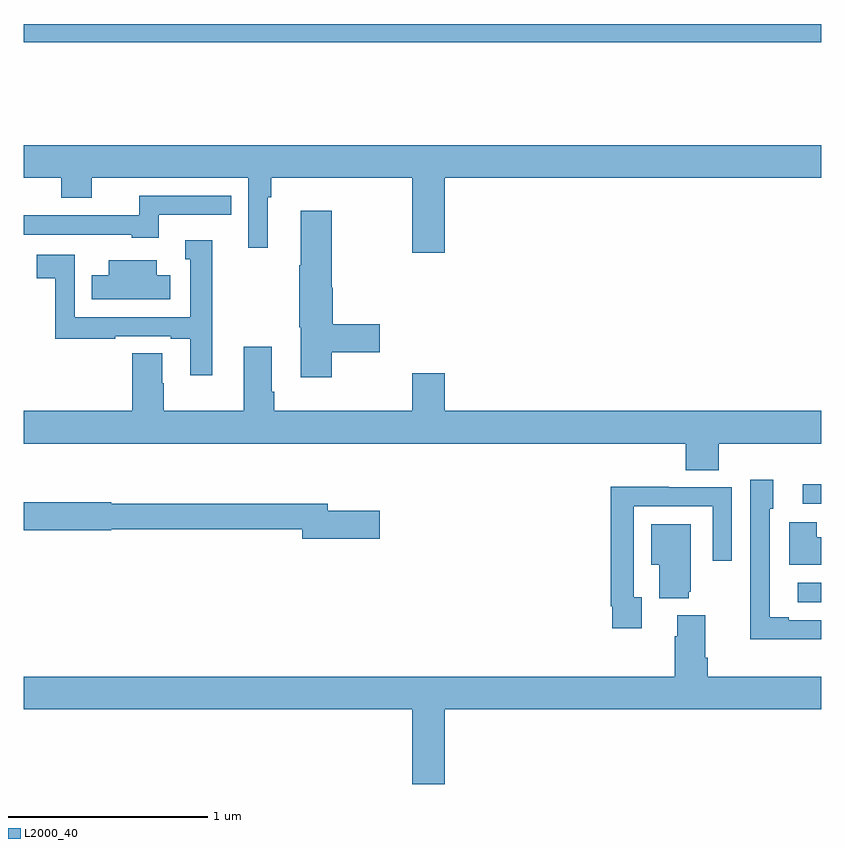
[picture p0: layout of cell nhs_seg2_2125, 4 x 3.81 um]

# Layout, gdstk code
import gdstk
lib = gdstk.Library(unit=1e-6, precision=1e-09)
def R(c, l, rs):  # rectangles x0, y0, x1, y1
    for r in rs: c.add(gdstk.rectangle(r[:2], r[2:], *l))
def P(c, l, *ps):  # polygons
    for p in ps: c.add(gdstk.Polygon(p, *l))
L2000_40 = (2000, 40)

nhs_seg2_2125 = lib.new_cell('nhs_seg2_2125')
R(nhs_seg2_2125, L2000_40, [(226.881,586.902,227,586.998), (226.905,587.394,227,587.492), (223,589.708,227,589.8)])
P(nhs_seg2_2125, L2000_40, [(225.112,589.028),(227,589.028),(227,589.192),(223,589.192),(223,589.028),(223.19,589.028),(223.19,588.929),(223.342,588.929),(223.342,589.028),(224.127,589.028),(224.127,588.678),(224.224,588.678),(224.224,588.932),(224.243,588.932),(224.243,589.028),(224.948,589.028),(224.948,588.654),(225.112,588.654)],
  [(223.678,588.843),(224.042,588.843),(224.042,588.939),(223.579,588.939),(223.579,588.84),(223.106,588.84),(223.106,588.842),(223,588.842),(223,588.744),(223.542,588.744),(223.542,588.728),(223.678,588.728)],
  [(224.544,588.154),(224.785,588.154),(224.785,588.296),(224.549,588.296),(224.549,588.479),(224.544,588.479),(224.544,588.865),(224.39,588.865),(224.39,588.59),(224.383,588.59),(224.383,588.279),(224.39,588.279),(224.39,588.03),(224.544,588.03)],
  [(223.945,588.715),(223.811,588.715),(223.811,588.621),(223.836,588.621),(223.836,588.33),(223.257,588.33),(223.257,588.642),(223.065,588.642),(223.065,588.526),(223.159,588.526),(223.159,588.222),(223.46,588.222),(223.46,588.234),(223.739,588.234),(223.739,588.222),(223.835,588.222),(223.835,588.039),(223.945,588.039)],
  [(223.735,588.541),(223.669,588.541),(223.669,588.616),(223.427,588.616),(223.427,588.541),(223.342,588.541),(223.342,588.419),(223.735,588.419)],
  [(226.484,587.696),(227,587.696),(227,587.86),(225.112,587.86),(225.112,588.049),(224.948,588.049),(224.948,587.86),(224.258,587.86),(224.258,587.956),(224.245,587.956),(224.245,588.181),(224.105,588.181),(224.105,587.86),(223.704,587.86),(223.704,587.999),(223.696,587.999),(223.696,588.149),(223.544,588.149),(223.544,587.86),(223,587.86),(223,587.696),(226.319,587.696),(226.319,587.563),(226.484,587.563)],
  [(227,586.812),(226.837,586.812),(226.837,586.825),(226.74,586.825),(226.74,587.37),(226.759,587.37),(226.759,587.515),(226.644,587.515),(226.644,587.021),(226.642,587.021),(226.642,586.715),(227,586.715)],
  [(226.099,586.926),(226.059,586.926),(226.059,587.382),(226.455,587.382),(226.455,587.109),(226.551,587.109),(226.551,587.478),(226.235,587.478),(226.235,587.48),(225.943,587.48),(225.943,586.882),(225.951,586.882),(225.951,586.77),(226.099,586.77)],
  [(224.785,587.361),(224.524,587.361),(224.524,587.395),(223.44,587.395),(223.44,587.403),(223,587.403),(223,587.261),(223.44,587.261),(223.44,587.266),(224.396,587.266),(224.396,587.219),(224.785,587.219)],
  [(227,587.226),(226.977,587.226),(226.977,587.302),(226.838,587.302),(226.838,587.09),(227,587.09)],
  [(226.334,586.953),(226.345,586.953),(226.345,587.293),(226.148,587.293),(226.148,587.09),(226.187,587.09),(226.187,586.922),(226.334,586.922)],
  [(225.112,586.364),(227,586.364),(227,586.528),(226.43,586.528),(226.43,586.624),(226.417,586.624),(226.417,586.837),(226.277,586.837),(226.277,586.73),(226.265,586.73),(226.265,586.528),(223,586.528),(223,586.364),(224.948,586.364),(224.948,585.99),(225.112,585.99)])

lib.write_gds('nhs_seg2_2125.gds')
